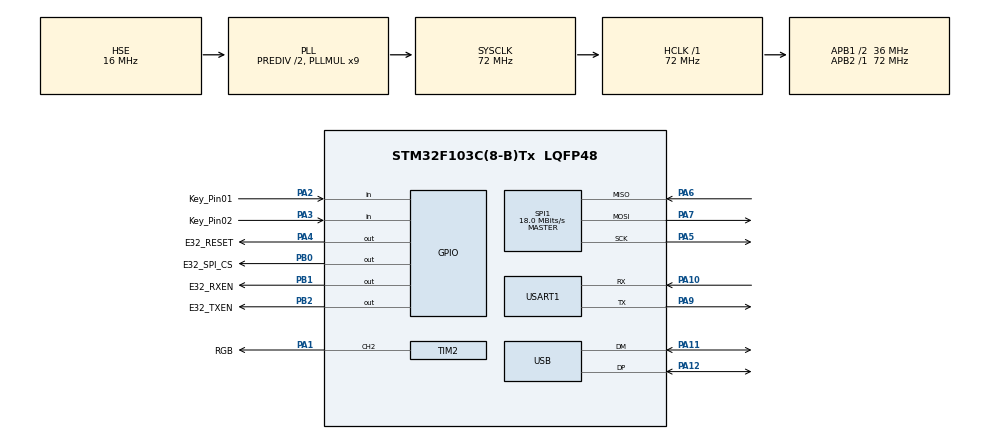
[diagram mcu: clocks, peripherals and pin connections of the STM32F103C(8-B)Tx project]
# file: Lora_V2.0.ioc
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Dma.Request0=USART1_RX
Dma.Request1=USART1_TX
Dma.Request2=TIM2_CH2/CH4
Dma.TIM2_CH2/CH4.2.Direction=DMA_MEMORY_TO_PERIPH
Dma.TIM2_CH2/CH4.2.Instance=DMA1_Channel7
Dma.TIM2_CH2/CH4.2.MemDataAlignment=DMA_MDATAALIGN_BYTE
Dma.TIM2_CH2/CH4.2.MemInc=DMA_MINC_ENABLE
Dma.TIM2_CH2/CH4.2.Mode=DMA_NORMAL
Dma.TIM2_CH2/CH4.2.PeriphDataAlignment=DMA_PDATAALIGN_BYTE
Dma.TIM2_CH2/CH4.2.PeriphInc=DMA_PINC_DISABLE
Dma.TIM2_CH2/CH4.2.Priority=DMA_PRIORITY_LOW
Dma.USART1_RX.0.Direction=DMA_PERIPH_TO_MEMORY
Dma.USART1_RX.0.Instance=DMA1_Channel5
Dma.USART1_RX.0.MemDataAlignment=DMA_MDATAALIGN_BYTE
Dma.USART1_RX.0.MemInc=DMA_MINC_ENABLE
Dma.USART1_RX.0.Mode=DMA_NORMAL
Dma.USART1_RX.0.PeriphDataAlignment=DMA_PDATAALIGN_BYTE
Dma.USART1_RX.0.PeriphInc=DMA_PINC_DISABLE
Dma.USART1_RX.0.Priority=DMA_PRIORITY_LOW
Dma.USART1_TX.1.Direction=DMA_MEMORY_TO_PERIPH
Dma.USART1_TX.1.Instance=DMA1_Channel4
Dma.USART1_TX.1.MemDataAlignment=DMA_MDATAALIGN_BYTE
Dma.USART1_TX.1.MemInc=DMA_MINC_ENABLE
Dma.USART1_TX.1.Mode=DMA_NORMAL
Dma.USART1_TX.1.PeriphDataAlignment=DMA_PDATAALIGN_BYTE
Dma.USART1_TX.1.PeriphInc=DMA_PINC_DISABLE
Dma.USART1_TX.1.Priority=DMA_PRIORITY_LOW
Mcu.Family=STM32F1
Mcu.Name=STM32F103C(8-B)Tx
Mcu.Package=LQFP48
NVIC.DMA1_Channel4_IRQn=true\:0\:0\:false\:false\:true\:false\:true
NVIC.DMA1_Channel5_IRQn=true\:0\:0\:false\:false\:true\:false\:true
NVIC.DMA1_Channel7_IRQn=true\:0\:0\:false\:false\:true\:false\:true
NVIC.PriorityGroup=NVIC_PRIORITYGROUP_4
NVIC.TIM2_IRQn=true\:0\:0\:false\:false\:true\:true\:true
NVIC.USART1_IRQn=true\:0\:0\:false\:false\:true\:true\:true
NVIC.USB_LP_CAN1_RX0_IRQn=true\:0\:0\:false\:false\:true\:false\:true
PA1.GPIO_Label=RGB
PA1.GPIO_ModeDefaultPP=GPIO_MODE_AF_PP
PA1.GPIO_Speed=GPIO_SPEED_FREQ_HIGH
PA1.Signal=S_TIM2_CH2
PA10.Mode=Asynchronous
PA10.Signal=USART1_RX
PA11.Mode=Device
PA11.Signal=USB_DM
PA12.Mode=Device
PA12.Signal=USB_DP
PA13.Mode=Serial_Wire
PA13.Signal=SYS_JTMS-SWDIO
PA14.Mode=Serial_Wire
PA14.Signal=SYS_JTCK-SWCLK
PA2.GPIO_Label=Key_Pin01
PA2.GPIO_PuPd=GPIO_PULLUP
PA2.Signal=GPIO_Input
PA3.GPIO_Label=Key_Pin02
PA3.GPIO_PuPd=GPIO_PULLUP
PA3.Signal=GPIO_Input
PA4.GPIO_Label=E32_RESET
PA4.GPIO_PuPd=GPIO_PULLUP
PA4.GPIO_Speed=GPIO_SPEED_FREQ_HIGH
PA4.PinState=GPIO_PIN_SET
PA4.Signal=GPIO_Output
PA5.Mode=Full_Duplex_Master
PA5.Signal=SPI1_SCK
PA6.Mode=Full_Duplex_Master
PA6.Signal=SPI1_MISO
PA7.Mode=Full_Duplex_Master
PA7.Signal=SPI1_MOSI
PA9.Mode=Asynchronous
PA9.Signal=USART1_TX
PB0.GPIO_Label=E32_SPI_CS
PB0.GPIO_PuPd=GPIO_PULLUP
PB0.GPIO_Speed=GPIO_SPEED_FREQ_HIGH
PB0.PinState=GPIO_PIN_SET
PB0.Signal=GPIO_Output
PB1.GPIO_Label=E32_RXEN
PB1.GPIO_ModeDefaultOutputPP=GPIO_MODE_OUTPUT_PP
PB1.GPIO_PuPd=GPIO_PULLUP
PB1.GPIO_Speed=GPIO_SPEED_FREQ_HIGH
PB1.PinState=GPIO_PIN_SET
PB1.Signal=GPIO_Output
PB2.GPIO_Label=E32_TXEN
PB2.GPIO_PuPd=GPIO_PULLUP
PB2.GPIO_Speed=GPIO_SPEED_FREQ_HIGH
PB2.PinState=GPIO_PIN_SET
PB2.Signal=GPIO_Output
PD0-OSC_IN.Mode=HSE-External-Oscillator
PD0-OSC_IN.Signal=RCC_OSC_IN
PD1-OSC_OUT.Mode=HSE-External-Oscillator
PD1-OSC_OUT.Signal=RCC_OSC_OUT
ProjectManager.HeapSize=0x1000
ProjectManager.StackSize=0x1000
ProjectManager.TargetToolchain=MDK-ARM V5.32
RCC.AHBFreq_Value=72000000
RCC.APB1CLKDivider=RCC_HCLK_DIV2
RCC.APB1Freq_Value=36000000
RCC.APB1TimFreq_Value=72000000
RCC.APB2Freq_Value=72000000
RCC.APB2TimFreq_Value=72000000
RCC.HCLKFreq_Value=72000000
RCC.HSEDivPLL=RCC_HSE_PREDIV_DIV2
RCC.HSE_VALUE=16000000
RCC.PLLMUL=RCC_PLL_MUL9
RCC.SYSCLKFreq_VALUE=72000000
RCC.SYSCLKSource=RCC_SYSCLKSOURCE_PLLCLK
RCC.USBFreq_Value=48000000
RCC.USBPrescaler=RCC_USBCLKSOURCE_PLL_DIV1_5
SH.S_TIM2_CH2.0=TIM2_CH2,PWM Generation2 CH2
SPI1.BaudRatePrescaler=SPI_BAUDRATEPRESCALER_4
SPI1.CRCCalculation=SPI_CRCCALCULATION_ENABLE
SPI1.CalculateBaudRate=18.0 MBits/s
SPI1.Direction=SPI_DIRECTION_2LINES
SPI1.Mode=SPI_MODE_MASTER
SPI1.VirtualType=VM_MASTER
TIM2.Channel-PWM\ Generation2\ CH2=TIM_CHANNEL_2
TIM2.Period=90
USART1.VirtualMode=VM_ASYNC
USB_DEVICE.CLASS_NAME_FS=CDC
USB_DEVICE.VirtualMode=Cdc
USB_DEVICE.VirtualModeFS=Cdc_FS
VP_USB_DEVICE_VS_USB_DEVICE_CDC_FS.Mode=CDC_FS
board=custom

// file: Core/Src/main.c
/* USER CODE BEGIN Header */
/**
  ******************************************************************************
  * @file           : main.c
  * @brief          : Main program body
  ******************************************************************************
  * @attention
  *
  * <h2><center>&copy; Copyright (c) 2023 STMicroelectronics.
  * All rights reserved.</center></h2>
  *
  * This software component is licensed by ST under Ultimate Liberty license
  * SLA0044, the "License"; You may not use this file except in compliance with
  * the License. You may obtain a copy of the License at:
  *                             www.st.com/SLA0044
  *
  ******************************************************************************
  */
/* USER CODE END Header */
#include "main.h"
#include "dma.h"
#include "iwdg.h"
#include "spi.h"
#include "tim.h"
#include "usart.h"
#include "usb_device.h"
#include "gpio.h"
#include "board.h"
#include "ebyte_kfifo.h"
#include "ebyte_core.h"
/* USER CODE BEGIN Includes */
#include "usbd_cdc_if.h"
#include <stdio.h>
#include "ws281x.h"
/* USER CODE END Includes */

/* USER CODE BEGIN PTD */
Ebyte_FIFO_t hfifo;
uint8_t BufferPing[5] = {'p', 'i', 'n', 'g'};
uint8_t BufferPong[5] = {'p', 'o', 'n', 'g'};
uint8_t LoraTestBuff[] = "E32-900M30S LORA TEST !!!";
#define TX_MODE		1
/* USER CODE END PTD */

void SystemClock_Config(void);

int main(void)
{
  /* USER CODE BEGIN 1 */
    uint8_t result;
    uint8_t* pName;
  /* USER CODE END 1 */

  /* MCU Configuration--------------------------------------------------------*/

  /* Reset of all peripherals, Initializes the Flash interface and the Systick. */
  HAL_Init();

  /* Configure the system clock */
  SystemClock_Config();

  /* Initialize all configured peripherals */
  MX_GPIO_Init();
  MX_DMA_Init();
  MX_SPI1_Init();
  MX_USART1_UART_Init();
  MX_USB_DEVICE_Init();
  MX_TIM2_Init();
  MX_IWDG_Init();
  /* USER CODE BEGIN 2 */
  WS28xx_TypeStructInit();

    Ebyte_BSP_Init();
    DEBUG( "System ON ! \r\n" );
    /* (可选) 串口中断接收FIFO 可根据需要自行处理 */
    Ebyte_FIFO_Init( &hfifo, EBYTE_FIFO_SIZE );
    /* EBYTE 无线模块初始化 请务必根据具体产品在IAR中选择对应的Workspace*/
    result = Ebyte_RF.Init();
    /* USER CODE END 2 */
    if( result != 0 )
    {
        DEBUG( "Wireless module initialization failed ! \r\n" );
    	while( 1 ); //初始化失败 请检查硬件
    }
    else
    {
        pName = Ebyte_RF.GetName();
        DEBUG( "Wireless module initialization success . Name:%s  \r\n", pName );
    }

  /* USER CODE END 2 */

  /* Infinite loop */
  /* USER CODE BEGIN WHILE */
	while (1)
	{
        MX_IWDG_Reload();
		UART_RX_Task();
        USB_VCP_RX_Task();
		Ebyte_RF.TaskForPoll();
        WS28xx_DisplayTask();
  	}
  /* USER CODE END 3 */
}

void SystemClock_Config(void)
{
  RCC_OscInitTypeDef RCC_OscInitStruct = {0};
  RCC_ClkInitTypeDef RCC_ClkInitStruct = {0};
  RCC_PeriphCLKInitTypeDef PeriphClkInit = {0};

  /** Initializes the RCC Oscillators according to the specified parameters
  * in the RCC_OscInitTypeDef structure.
  */
  RCC_OscInitStruct.OscillatorType = RCC_OSCILLATORTYPE_LSI|RCC_OSCILLATORTYPE_HSE;
  RCC_OscInitStruct.HSEState = RCC_HSE_ON;
  RCC_OscInitStruct.HSEPredivValue = RCC_HSE_PREDIV_DIV2;
  RCC_OscInitStruct.HSIState = RCC_HSI_ON;
  RCC_OscInitStruct.LSIState = RCC_LSI_ON;
  RCC_OscInitStruct.PLL.PLLState = RCC_PLL_ON;
  RCC_OscInitStruct.PLL.PLLSource = RCC_PLLSOURCE_HSE;
  RCC_OscInitStruct.PLL.PLLMUL = RCC_PLL_MUL9;
  if (HAL_RCC_OscConfig(&RCC_OscInitStruct) != HAL_OK)
  {
    Error_Handler();
  }
  /** Initializes the CPU, AHB and APB buses clocks
  */
  RCC_ClkInitStruct.ClockType = RCC_CLOCKTYPE_HCLK|RCC_CLOCKTYPE_SYSCLK
                              |RCC_CLOCKTYPE_PCLK1|RCC_CLOCKTYPE_PCLK2;
  RCC_ClkInitStruct.SYSCLKSource = RCC_SYSCLKSOURCE_PLLCLK;
  RCC_ClkInitStruct.AHBCLKDivider = RCC_SYSCLK_DIV1;
  RCC_ClkInitStruct.APB1CLKDivider = RCC_HCLK_DIV2;
  RCC_ClkInitStruct.APB2CLKDivider = RCC_HCLK_DIV1;

  if (HAL_RCC_ClockConfig(&RCC_ClkInitStruct, FLASH_LATENCY_2) != HAL_OK)
  {
    Error_Handler();
  }
  PeriphClkInit.PeriphClockSelection = RCC_PERIPHCLK_USB;
  PeriphClkInit.UsbClockSelection = RCC_USBCLKSOURCE_PLL_DIV1_5;
  if (HAL_RCCEx_PeriphCLKConfig(&PeriphClkInit) != HAL_OK)
  {
    Error_Handler();
  }
}

void Error_Handler(void)
{
  __disable_irq();
  while (1)
  {
  }
}

/************************ (C) COPYRIGHT STMicroelectronics *****END OF FILE****/
